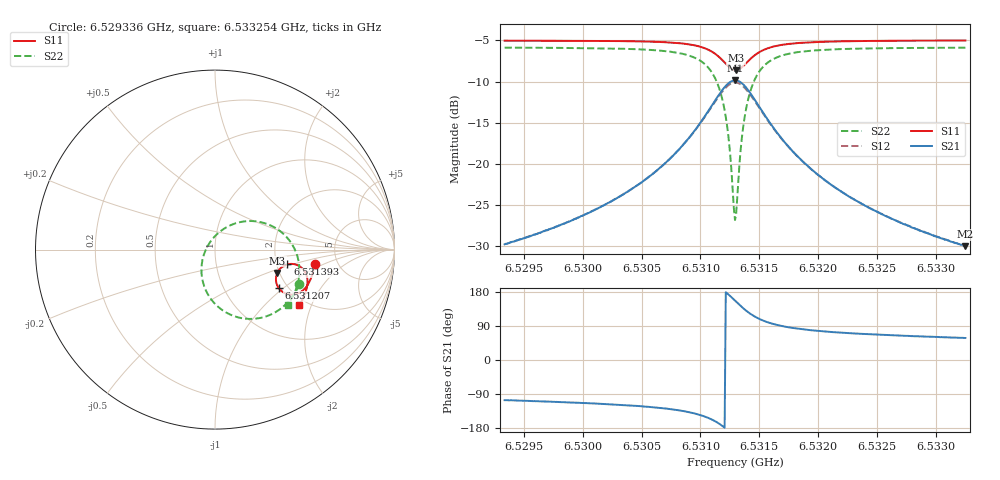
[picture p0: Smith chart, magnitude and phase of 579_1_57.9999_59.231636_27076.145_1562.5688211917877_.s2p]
#  HZ  S  RI  R  50.00
! Rohde & Schwarz Vector Network Analyzer
! Rohde-Schwarz,ZNB20-2Port,1311601062101988,3.16
! Created: UTC 3/21/2024, 1:16:14 AM
! freq[Hz]  re:S11  im:S11  re:S21  im:S21  re:S12  im:S12  re:S22  im:S22
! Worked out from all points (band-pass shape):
!   401 points, 6.529336 GHz to 6.533254 GHz, reference 50 ohm
!   highest |S21| = -9.84 dB at 6.531295 GHz (marker M1); lowest = -30.0 dB at 6.533254 GHz (marker M2)
!   |S21| within 3 dB of the highest: 6.531101 GHz to 6.531492 GHz (391.4 kHz wide, 0.00599 % of centre)
!   lowest |S11| = -8.6 dB at 6.531305 GHz (marker M3), VSWR 2.18, Z = 97.2 - j29.3 ohm
!   |S11| at or under -10 dB: nowhere
!   |S22| runs from -26.8 to -5.9 dB; largest |S21 - S12| = 0.013
!   S11 on the Smith chart (normalised r, x): 6.529336 GHz: 3.34, -0.80; 6.531207 GHz: 1.79, -0.92; 6.531393 GHz: 2.29, -0.45; 6.533254 GHz: 1.82, -1.64
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6.5293359e9  0.5546 -0.0825  -0.00896 -0.0313  -0.00952 -0.0312  0.4705 -0.193
6.5299922e9  0.5422 -0.1375  -0.0193 -0.0445  -0.0202 -0.044  0.4371 -0.2539
6.530335e9  0.5307 -0.1696  -0.0311 -0.0569  -0.0326 -0.0561  0.4054 -0.2938
6.5306484e9  0.5117 -0.2039  -0.0554 -0.0757  -0.0575 -0.074  0.3505 -0.3402
6.5308737e9  0.4829 -0.2329  -0.0972 -0.0946  -0.1002 -0.0912  0.266 -0.3775
6.5310402e9  0.4369 -0.2507  -0.1688 -0.0995  -0.1708 -0.0924  0.1356 -0.3792
6.5311382e9  0.3901 -0.2433  -0.2407 -0.07  -0.2393 -0.0597  0.0156 -0.317
6.5312067e9  0.3543 -0.213  -0.2928 -0.00742  -0.286 0.00301  -0.0606 -0.2029
6.5312361e9  0.3437 -0.1914  -0.3061 0.0334  -0.2967 0.0423  -0.0751 -0.1331
6.5312753e9  0.3398 -0.1566  -0.3055 0.096  -0.2937 0.1012  -0.063 -0.0309
6.5312949e9  0.3436 -0.1388  -0.2959 0.1273  -0.2838 0.1304  -0.0418 0.0183
6.5313047e9  0.3467 -0.1302  -0.2887 0.142  -0.2767 0.1442  -0.0276 0.0413
6.5313145e9  0.3509 -0.122  -0.2802 0.1562  -0.2684 0.1572  -0.0113 0.0627
6.5313537e9  0.3746 -0.0959  -0.2353 0.2006  -0.2256 0.1982  0.0693 0.1273
6.5313929e9  0.4036 -0.0823  -0.1836 0.2235  -0.1764 0.2197  0.1584 0.1564
6.5314614e9  0.4491 -0.083  -0.104 0.2235  -0.1006 0.2199  0.2911 0.1424
6.5315594e9  0.4884 -0.1068  -0.0368 0.1889  -0.0352 0.1869  0.3993 0.0694
6.5317063e9  0.5104 -0.1445  0.00274 0.1387  0.00405 0.1379  0.4571 -0.031
6.5319512e9  0.5153 -0.1888  0.0187 0.0901  0.0198 0.0898  0.47 -0.1316
6.532245e9  0.5087 -0.2248  0.021 0.0613  0.0218 0.0611  0.4587 -0.1981
6.5326074e9  0.4964 -0.2587  0.0197 0.0431  0.0204 0.0427  0.4394 -0.2484
6.5332539e9  0.4706 -0.3077  0.0168 0.0269  0.0174 0.0267  0.4047 -0.3072
